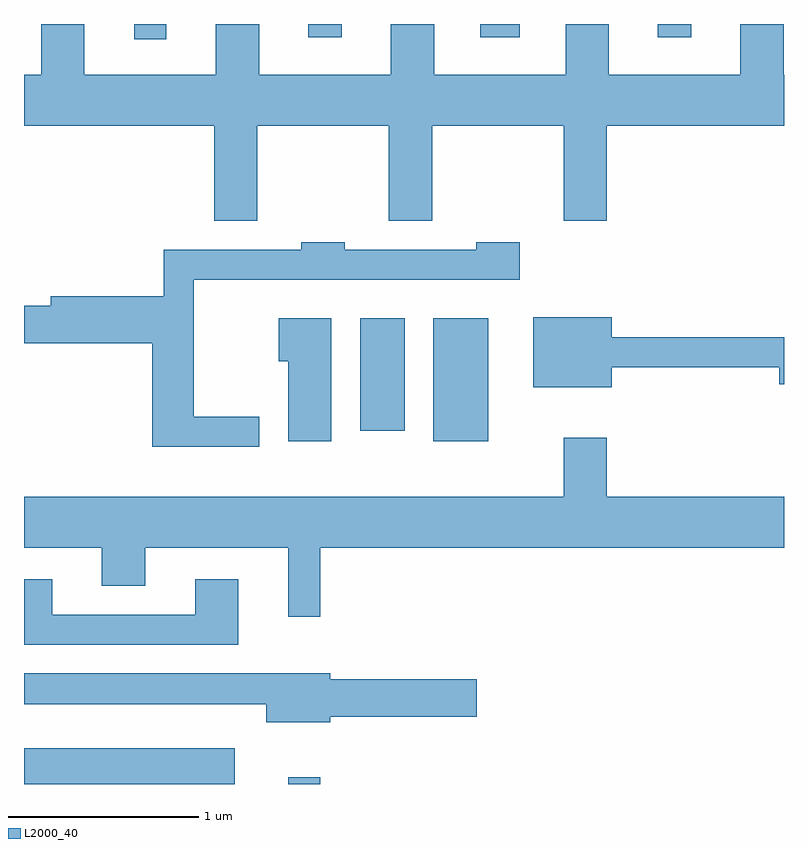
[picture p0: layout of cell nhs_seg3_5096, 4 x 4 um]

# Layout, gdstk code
import gdstk
lib = gdstk.Library(unit=1e-6, precision=1e-09)
def R(c, l, rs):  # rectangles x0, y0, x1, y1
    for r in rs: c.add(gdstk.rectangle(r[:2], r[2:], *l))
def P(c, l, *ps):  # polygons
    for p in ps: c.add(gdstk.Polygon(p, *l))
L2000_40 = (2000, 40)

nhs_seg3_5096 = lib.new_cell('nhs_seg3_5096')
R(nhs_seg3_5096, L2000_40, [(335.611,1115.892,336.719,1116.079), (337.001,1115.892,337.169,1115.928), (337.766,1117.696,338.054,1118.344), (337.381,1117.751,337.614,1118.344), (336.191,1119.813,336.359,1119.892), (337.106,1119.821,337.284,1119.892), (338.011,1119.821,338.219,1119.892), (338.946,1119.821,339.124,1119.892)])
P(nhs_seg3_5096, L2000_40, [(336.839,1119.356),(337.531,1119.356),(337.531,1118.856),(337.759,1118.856),(337.759,1119.356),(338.451,1119.356),(338.451,1118.856),(338.679,1118.856),(338.679,1119.356),(339.611,1119.356),(339.611,1119.624),(339.609,1119.624),(339.609,1119.892),(339.381,1119.892),(339.381,1119.624),(338.689,1119.624),(338.689,1119.892),(338.461,1119.892),(338.461,1119.624),(337.769,1119.624),(337.769,1119.892),(337.541,1119.892),(337.541,1119.624),(336.849,1119.624),(336.849,1119.892),(336.621,1119.892),(336.621,1119.624),(335.929,1119.624),(335.929,1119.892),(335.701,1119.892),(335.701,1119.624),(335.611,1119.624),(335.611,1119.356),(336.611,1119.356),(336.611,1118.856),(336.839,1118.856)],
  [(336.848,1117.824),(336.504,1117.824),(336.504,1118.546),(338.219,1118.546),(338.219,1118.744),(337.991,1118.744),(337.991,1118.704),(337.299,1118.704),(337.299,1118.744),(337.071,1118.744),(337.071,1118.704),(336.346,1118.704),(336.346,1118.459),(335.751,1118.459),(335.751,1118.409),(335.611,1118.409),(335.611,1118.211),(336.286,1118.211),(336.286,1117.666),(336.848,1117.666)],
  [(338.704,1118.086),(339.586,1118.086),(339.586,1117.996),(339.611,1117.996),(339.611,1118.244),(338.704,1118.244),(338.704,1118.349),(338.291,1118.349),(338.291,1117.981),(338.704,1117.981)],
  [(337.229,1118.344),(336.951,1118.344),(336.951,1118.116),(337.001,1118.116),(337.001,1117.696),(337.229,1117.696)],
  [(337.169,1117.136),(339.611,1117.136),(339.611,1117.404),(338.679,1117.404),(338.679,1117.714),(338.451,1117.714),(338.451,1117.404),(335.611,1117.404),(335.611,1117.136),(336.021,1117.136),(336.021,1116.936),(336.249,1116.936),(336.249,1117.136),(337.001,1117.136),(337.001,1116.773),(337.169,1116.773)],
  [(336.739,1116.969),(336.511,1116.969),(336.511,1116.784),(335.759,1116.784),(335.759,1116.969),(335.611,1116.969),(335.611,1116.626),(336.739,1116.626)],
  [(337.224,1116.246),(337.994,1116.246),(337.994,1116.444),(337.224,1116.444),(337.224,1116.474),(335.611,1116.474),(335.611,1116.311),(336.886,1116.311),(336.886,1116.216),(337.224,1116.216)])

lib.write_gds('nhs_seg3_5096.gds')
